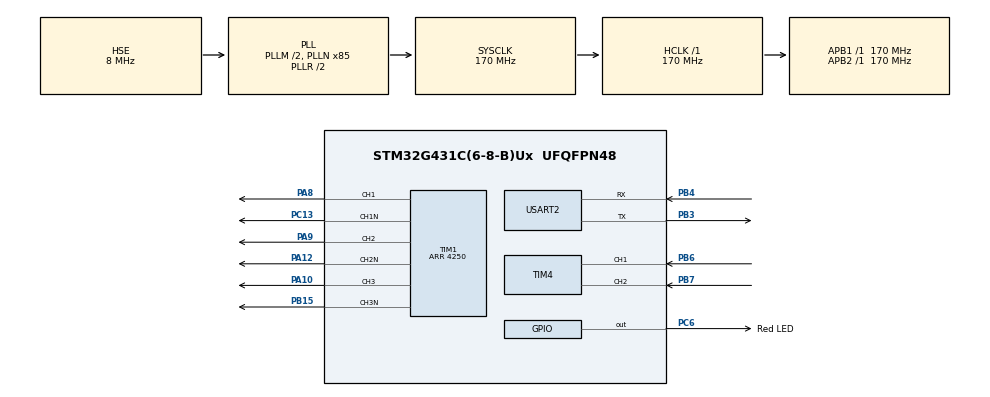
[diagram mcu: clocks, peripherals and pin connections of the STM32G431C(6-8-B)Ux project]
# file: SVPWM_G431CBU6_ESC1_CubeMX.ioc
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Mcu.Family=STM32G4
Mcu.Name=STM32G431C(6-8-B)Ux
Mcu.Package=UFQFPN48
NVIC.PriorityGroup=NVIC_PRIORITYGROUP_4
NVIC.TIM4_IRQn=true\:0\:0\:false\:false\:true\:true\:true\:true
PA10.Signal=S_TIM1_CH3
PA12.Mode=PWM Generation2 CH2 CH2N
PA12.Signal=TIM1_CH2N
PA13.Mode=Serial_Wire
PA13.Signal=SYS_JTMS-SWDIO
PA14.Mode=Serial_Wire
PA14.Signal=SYS_JTCK-SWCLK
PA8.Signal=S_TIM1_CH1
PA9.Signal=S_TIM1_CH2
PB15.Mode=PWM Generation3 CH3 CH3N
PB15.Signal=TIM1_CH3N
PB3.Mode=Asynchronous
PB3.Signal=USART2_TX
PB4.Mode=Asynchronous
PB4.Signal=USART2_RX
PB6.GPIO_PuPd=GPIO_PULLUP
PB6.Signal=S_TIM4_CH1
PB7.GPIO_PuPd=GPIO_PULLUP
PB7.Signal=S_TIM4_CH2
PB8-BOOT0.Signal=S_TIM4_CH3
PC13.Mode=PWM Generation1 CH1 CH1N
PC13.Signal=TIM1_CH1N
PC6.GPIO_Label=Red LED
PC6.PinState=GPIO_PIN_SET
PC6.Signal=GPIO_Output
PF0-OSC_IN.Mode=HSE-External-Oscillator
PF0-OSC_IN.Signal=RCC_OSC_IN
PF1-OSC_OUT.Mode=HSE-External-Oscillator
PF1-OSC_OUT.Signal=RCC_OSC_OUT
ProjectManager.HeapSize=0x200
ProjectManager.StackSize=0x400
ProjectManager.TargetToolchain=STM32CubeIDE
RCC.ADC12Freq_Value=170000000
RCC.AHBFreq_Value=170000000
RCC.APB1Freq_Value=170000000
RCC.APB1TimFreq_Value=170000000
RCC.APB2Freq_Value=170000000
RCC.APB2TimFreq_Value=170000000
RCC.CK48CLockSelection=RCC_USBCLKSOURCE_HSI48
RCC.CortexFreq_Value=170000000
RCC.EXTERNAL_CLOCK_VALUE=12288000
RCC.HCLKFreq_Value=170000000
RCC.HSE_VALUE=8000000
RCC.HSI48_VALUE=48000000
RCC.HSI_VALUE=16000000
RCC.LSE_VALUE=32768
RCC.PLLM=RCC_PLLM_DIV2
RCC.PLLN=85
RCC.PLLSourceVirtual=RCC_PLLSOURCE_HSE
RCC.SYSCLKFreq_VALUE=170000000
RCC.SYSCLKSource=RCC_SYSCLKSOURCE_PLLCLK
RCC.USBFreq_Value=48000000
RCC.VCOOutputFreq_Value=340000000
SH.S_TIM1_CH1.0=TIM1_CH1,PWM Generation1 CH1 CH1N
SH.S_TIM1_CH2.0=TIM1_CH2,PWM Generation2 CH2 CH2N
SH.S_TIM1_CH3.0=TIM1_CH3,PWM Generation3 CH3 CH3N
SH.S_TIM4_CH1.0=TIM4_CH1,Encoder_Interface
SH.S_TIM4_CH2.0=TIM4_CH2,Encoder_Interface
SH.S_TIM4_CH3.0=TIM4_CH3
TIM1.AutoReloadPreload=TIM_AUTORELOAD_PRELOAD_ENABLE
TIM1.AutomaticOutput=TIM_AUTOMATICOUTPUT_DISABLE
TIM1.BreakState=TIM_BREAK_DISABLE
TIM1.Channel-PWM\ Generation1\ CH1\ CH1N=TIM_CHANNEL_1
TIM1.Channel-PWM\ Generation2\ CH2\ CH2N=TIM_CHANNEL_2
TIM1.Channel-PWM\ Generation3\ CH3\ CH3N=TIM_CHANNEL_3
TIM1.CounterMode=TIM_COUNTERMODE_CENTERALIGNED1
TIM1.DeadTime=100
TIM1.DeadTimePreload=ENABLE
TIM1.OCFastMode_PWM-PWM\ Generation1\ CH1\ CH1N=TIM_OCFAST_DISABLE
TIM1.OCFastMode_PWM-PWM\ Generation3\ CH3\ CH3N=TIM_OCFAST_DISABLE
TIM1.OCMode_PWM-PWM\ Generation1\ CH1\ CH1N=TIM_OCMODE_PWM1
TIM1.OCMode_PWM-PWM\ Generation3\ CH3\ CH3N=TIM_OCMODE_PWM1
TIM1.PeriodNoDither=4250
TIM4.AutoReloadPreload=TIM_AUTORELOAD_PRELOAD_ENABLE
TIM4.EncoderMode=TIM_ENCODERMODE_TI12
TIM4.IC1Filter=4
TIM4.IC1Polarity=TIM_ICPOLARITY_RISING
TIM4.IC2Filter=4
USART2.SwapParam=ADVFEATURE_SWAP_DISABLE
USART2.VirtualMode-Asynchronous=VM_ASYNC
VP_SYS_VS_DBSignals.Mode=DisableDeadBatterySignals
VP_TIM1_VS_ClockSourceINT.Mode=Internal
board=custom

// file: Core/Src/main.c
/* USER CODE BEGIN Header */
/**
 ******************************************************************************
 * @file           : main.c
 * @brief          : Main program body
 ******************************************************************************
 * @attention
 *
 * Copyright (c) 2025 STMicroelectronics.
 * All rights reserved.
 *
 * This software is licensed under terms that can be found in the LICENSE file
 * in the root directory of this software component.
 * If no LICENSE file comes with this software, it is provided AS-IS.
 *
 ******************************************************************************
 */
// Implement SVPWM according to the paper "SVPWM for PMSM" by ASW
// System initialization (clock setup, etc.) is usually called
// automatically by the startup code before main() via SystemInit().
// SystemInit() is defined in system_stm32g4xx.c (part of CMSIS device files)
/* USER CODE END Header */
#include "main.h"
#include "tim.h"
#include "usart.h"
#include "gpio.h"

/* USER CODE BEGIN Includes */
#include "SVPWM.h" // Include SVPWM header file
#include "util.h" // Include ASW util header file
#include "debug.h" // Include ASW debug header file
#include <string.h> // Include standard I/O library for printf
#include <stdio.h> // Include standard I/O library for printf
#ifdef WEACT_BOARD
#include "usbd_cdc_if.h" // Include USB CDC interface for printing to USB
#endif
#include "encoder.h" // Added: use encoder module API

#include <math.h> // Include math library for cos() and sin()

//#define DEBUG

/* USER CODE END Includes */

/* USER CODE BEGIN PTD */
extern TIM_HandleTypeDef htim4;

/* USER CODE END PTD */

/* USER CODE BEGIN PV */
//char textBuf[100];
// Removed local encoder extension state (handled in encoder.c)
/* USER CODE END PV */

void SystemClock_Config(void);

/* USER CODE BEGIN 0 */

# ifdef WEACT_BOARD
void printText(char *text) {
	while (CDC_Transmit_FS((uint8_t*) text, strlen(text)) == USBD_BUSY)
		;
}

int _write(int file, char *ptr, int len) {
	// Wait until the USB CDC is ready
	while (CDC_Transmit_FS((uint8_t*) ptr, len) == USBD_BUSY) {
		;
	}
	return len;
}
# elif defined(ESC_BOARD)
// For ESC board, we use UART2 for debugging
void printText(char *text) {
	HAL_UART_Transmit(&huart2, (uint8_t*) text, strlen(text), HAL_MAX_DELAY);
}
int _write(int file, char *ptr, int len) {
	// Wait until the UART is ready
	HAL_UART_Transmit(&huart2, (uint8_t*) ptr, len, HAL_MAX_DELAY);
	return len;
}
# endif

/* USER CODE END 0 */

int main(void)
{

  /* MCU Configuration--------------------------------------------------------*/

  /* Reset of all peripherals, Initializes the Flash interface and the Systick. */
  HAL_Init();

  /* Configure the system clock */
  SystemClock_Config();

  /* Initialize all configured peripherals */
  MX_GPIO_Init();
  MX_TIM1_Init();
  MX_USART2_UART_Init();
  MX_TIM4_Init();
  /* USER CODE BEGIN 2 */

	// Start the PWM outputs_
	HAL_TIM_PWM_Start(&htim1, TIM_CHANNEL_1);
	HAL_TIM_PWM_Start(&htim1, TIM_CHANNEL_2);
	HAL_TIM_PWM_Start(&htim1, TIM_CHANNEL_3);
	// For complementary outputs, also:
	HAL_TIMEx_PWMN_Start(&htim1, TIM_CHANNEL_1);
	HAL_TIMEx_PWMN_Start(&htim1, TIM_CHANNEL_2);
	HAL_TIMEx_PWMN_Start(&htim1, TIM_CHANNEL_3);

	// Start the encoder (homes immediately if no index)

	// adc_init();
	encoder_init(&htim4);

	SvpwmData data; // Declare the SVPWM data structure
	data.VBus = 10.0f; // Set the DC bus voltage in the SVPWM data structure
	data.m = 0.2f; // 1.0f/SQRT3; // Set the modulation index (max 0.57735f for 1/sqrt(3))

  /* USER CODE END 2 */

  /* Infinite loop */
  /* USER CODE BEGIN WHILE */

	// generate a lookup table for sin values
	float sinTable[SINE_TABLE_SIZE];
	generate_sine_table(sinTable);

	float grad = 0.0f; // running electrical angle in degrees

	while (1) {

#ifdef DEBUG2
		int32_t pos_old = 0;
		int32_t pos = __HAL_TIM_GET_COUNTER(&htim4);
		if (pos != pos_old) {
			printf("HAL Reading: %ld, enc_hi32: %ld\r\n", (long) pos,
					(long) encoder_abs_count());
			pos_old = pos;
		}
#endif

		// Advance angle
		grad += 0.1f;
		if (grad >= 360.0f) {
			grad = 0;
		}

		// test
		//grad = 0.0f;

		data.Vb = lookup_sin_interp(sinTable, grad) * data.m * data.VBus;
		data.Va = lookup_cos_interp(sinTable, grad) * data.m * data.VBus;
//		data.Vb = sinf(grad * (3.14159265358979323846f / 180.0f)) * data.m * data.VBus;
//		data.Va = cosf(grad * (3.14159265358979323846f / 180.0f)) * data.m * data.VBus;

		svpwm_calculate(&data);

		// Toggle Red LED on PC6
		GPIOC->ODR ^= (1 << 6);
	}
    /* USER CODE END WHILE */

}

void SystemClock_Config(void)
{
  RCC_OscInitTypeDef RCC_OscInitStruct = {0};
  RCC_ClkInitTypeDef RCC_ClkInitStruct = {0};

  /** Configure the main internal regulator output voltage
  */
  HAL_PWREx_ControlVoltageScaling(PWR_REGULATOR_VOLTAGE_SCALE1_BOOST);

  /** Initializes the RCC Oscillators according to the specified parameters
  * in the RCC_OscInitTypeDef structure.
  */
  RCC_OscInitStruct.OscillatorType = RCC_OSCILLATORTYPE_HSE;
  RCC_OscInitStruct.HSEState = RCC_HSE_ON;
  RCC_OscInitStruct.PLL.PLLState = RCC_PLL_ON;
  RCC_OscInitStruct.PLL.PLLSource = RCC_PLLSOURCE_HSE;
  RCC_OscInitStruct.PLL.PLLM = RCC_PLLM_DIV2;
  RCC_OscInitStruct.PLL.PLLN = 85;
  RCC_OscInitStruct.PLL.PLLP = RCC_PLLP_DIV2;
  RCC_OscInitStruct.PLL.PLLQ = RCC_PLLQ_DIV2;
  RCC_OscInitStruct.PLL.PLLR = RCC_PLLR_DIV2;
  if (HAL_RCC_OscConfig(&RCC_OscInitStruct) != HAL_OK)
  {
    Error_Handler();
  }

  /** Initializes the CPU, AHB and APB buses clocks
  */
  RCC_ClkInitStruct.ClockType = RCC_CLOCKTYPE_HCLK|RCC_CLOCKTYPE_SYSCLK
                              |RCC_CLOCKTYPE_PCLK1|RCC_CLOCKTYPE_PCLK2;
  RCC_ClkInitStruct.SYSCLKSource = RCC_SYSCLKSOURCE_PLLCLK;
  RCC_ClkInitStruct.AHBCLKDivider = RCC_SYSCLK_DIV1;
  RCC_ClkInitStruct.APB1CLKDivider = RCC_HCLK_DIV1;
  RCC_ClkInitStruct.APB2CLKDivider = RCC_HCLK_DIV1;

  if (HAL_RCC_ClockConfig(&RCC_ClkInitStruct, FLASH_LATENCY_4) != HAL_OK)
  {
    Error_Handler();
  }
}

void Error_Handler(void)
{
	__disable_irq();
	while (1) {
	}
}
